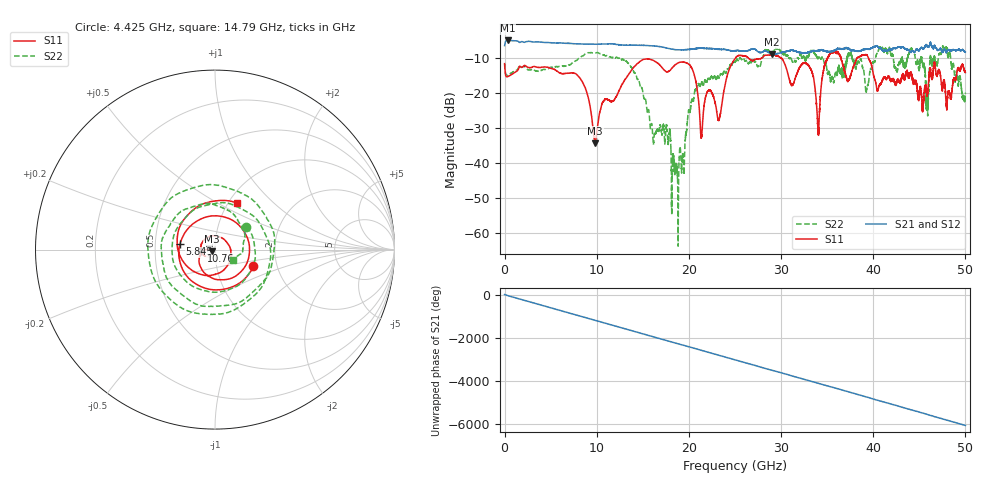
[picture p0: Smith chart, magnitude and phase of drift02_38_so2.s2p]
!Created with skrf (http://scikit-rf.org).
# Hz S RI R 50.0
!freq ReS11 ImS11 ReS21 ImS21 ReS12 ImS12 ReS22 ImS22
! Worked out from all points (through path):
!   10001 points, 300 kHz to 50 GHz, reference 50 ohm
!   highest |S21| = -5.04 dB at 325.3 MHz (marker M1); lowest = -9.0 dB at 28.98 GHz (marker M2)
!   group delay of S21, straight-line fit = 336 ps
!   lowest |S11| = -34.4 dB at 9.815 GHz (marker M3), VSWR 1.04, Z = 48.4 - j0.898 ohm
!   |S11| at or under -10 dB: start of sweep to 25.08 GHz; 29.97 GHz to 35.05 GHz (5.08 GHz wide, 15.6 % of centre); 39.47 GHz to end of sweep (the widest 3 of 8)
!   |S22| runs from -63.8 to -6.6 dB; largest |S21 - S12| = 0.021
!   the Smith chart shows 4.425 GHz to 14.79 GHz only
!   S11 on the Smith chart (normalised r, x): 4.425 GHz: 1.51, -0.30; 5.845 GHz: 0.67, +0.04; 10.76 GHz: 0.86, -0.01; 14.79 GHz: 1.09, +0.62
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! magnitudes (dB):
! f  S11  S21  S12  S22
! 300 kHz  -11.7  -6.5  -6.4  -11.6
! 325.3 MHz  -15.4  -5.0  -5.0  -15.1
! 4.425 GHz  -12.6  -5.6  -5.6  -13.3
! 5.845 GHz  -14.1  -5.7  -5.7  -12.5
! 8.335 GHz  -16.4  -6.0  -6.0  -9.6
! 9.815 GHz  -34.4  -6.1  -6.1  -8.5
! 10.76 GHz  -22.3  -6.1  -6.1  -9.2
! 14.79 GHz  -10.9  -6.4  -6.4  -18.5
! 16.67 GHz  -11.6  -6.7  -6.7  -30.8
! 18.67 GHz  -11.7  -7.7  -7.7  -41.9
! 20.37 GHz  -13.3  -7.5  -7.5  -21.9
! 21.37 GHz  -32.0  -7.2  -7.2  -16.9
! 23.31 GHz  -27.4  -7.6  -7.6  -15.6
! 25 GHz  -10.3  -7.9  -8.0  -11.2
! 28.98 GHz  -9.2  -9.0  -9.0  -8.3
! 33.34 GHz  -14.0  -8.1  -8.1  -8.1
! 34.02 GHz  -31.3  -7.9  -7.9  -10.2
! 35.52 GHz  -8.5  -8.2  -8.0  -15.6
! 41.67 GHz  -15.3  -7.7  -7.8  -7.4
! 45.85 GHz  -20.7  -6.7  -6.8  -21.0
! 47.76 GHz  -17.3  -7.5  -7.5  -7.6
! 50 GHz  -14.2  -8.4  -8.4  -20.3
